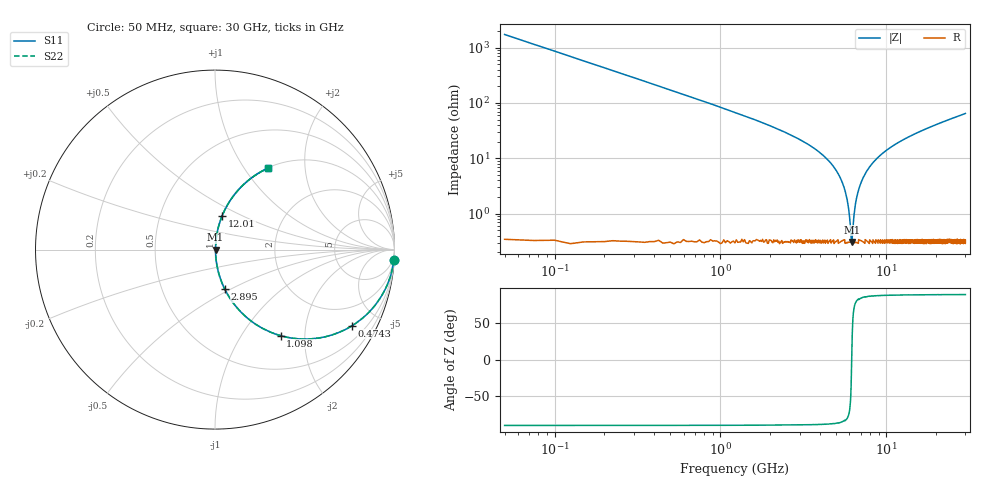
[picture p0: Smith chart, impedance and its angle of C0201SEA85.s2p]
# MHZ S MA R 50
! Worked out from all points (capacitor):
!   1201 points, 50 MHz to 30 GHz, reference 50 ohm
!   read as one part in series: C = 1.85 pF near 199.8 MHz
!   lowest |Z| = 309 mohm at 6.19 GHz (marker M1)
!   series resonance near 6.189 GHz, so ESL is about 360 pH
!   S11 on the Smith chart (normalised r, x): 50 MHz: 1, -34; 474.3 MHz: 1.01, -3.61; 1.098 GHz: 1.01, -1.52; 2.895 GHz: 1.01, -0.46; 12.01 GHz: 1.01, +0.40; 30 GHz: 1.01, +1.29
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50  0.998 -3.3  0.058 86.7  0.058 86.7  0.998 -3.3
274.625  0.952 -17.7  0.305 72.2  0.305 72.2  0.952 -17.7
474.292  0.874 -29.0  0.485 60.9  0.485 60.9  0.874 -29.0
1098.25  0.603 -52.7  0.795 37.1  0.795 37.1  0.603 -52.7
1797.083  0.4 -66.0  0.913 23.6  0.913 23.6  0.4 -66.0
2895.25  0.225 -76.2  0.971 13.0  0.971 13.0  0.225 -76.2
5041.667  0.057 -83.6  0.995 3.3  0.995 3.3  0.057 -83.6
5690.583  0.023 -81.0  0.997 1.3  0.997 1.3  0.023 -81.0
5890.25  0.014 -76.3  0.997 0.8  0.997 0.8  0.014 -76.3
6089.917  0.005455 -54.5  0.997 0.3  0.997 0.3  0.005455 -54.5
6189.75  0.003151 1.0  0.997 -0.0  0.997 -0.0  0.003151 1.0
6289.583  0.005483 54.7  0.997 -0.3  0.997 -0.3  0.005483 54.7
6464.292  0.012 74.7  0.997 -0.7  0.997 -0.7  0.012 74.7
6639  0.02 79.7  0.997 -1.1  0.997 -1.1  0.02 79.7
7213.042  0.043 83.3  0.996 -2.4  0.996 -2.4  0.043 83.3
8361.125  0.084 83.0  0.993 -4.8  0.993 -4.8  0.084 83.0
10058.29  0.139 80.7  0.987 -8.0  0.987 -8.0  0.139 80.7
12005.04  0.194 77.9  0.978 -11.2  0.978 -11.2  0.194 77.9
15025  0.269 73.7  0.96 -15.6  0.96 -15.6  0.269 73.7
20016.67  0.376 67.5  0.924 -22.1  0.924 -22.1  0.376 67.5
25033.29  0.466 61.9  0.882 -27.8  0.882 -27.8  0.466 61.9
30000  0.541 57.0  0.838 -32.7  0.838 -32.7  0.541 57.0
